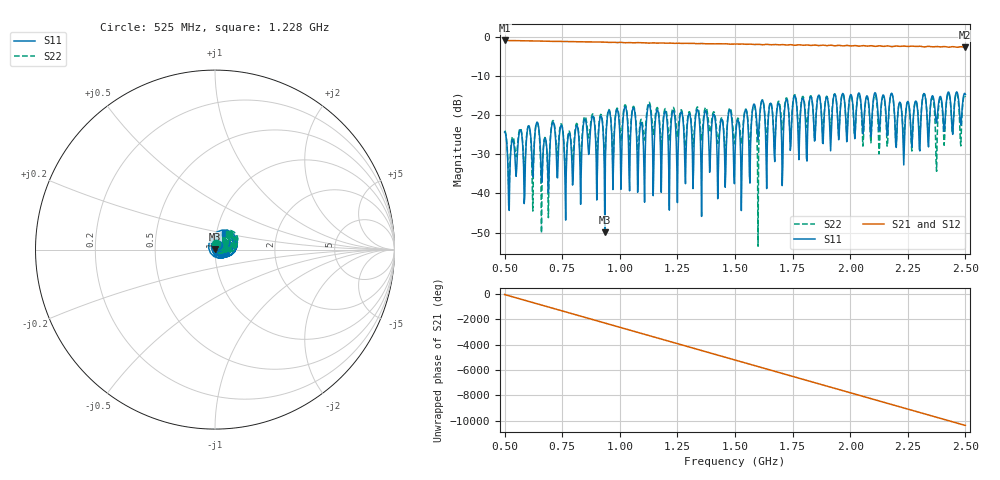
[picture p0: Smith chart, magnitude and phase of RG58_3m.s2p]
!Agilent N9923A: A.05.17
!Date: Sunday, 01 January 2006 12:54:32
!Model: N9923A
!Serial: MY50371189
!CHECKSUM:1851841409
!Correction: S11(ON Q)S21(ON Q)S12(ON Q)S22(ON Q)
!S2P File: Measurements:S11,S21,S12,S22:
# Hz S DB R 50
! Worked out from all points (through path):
!   801 points, 500 MHz to 2.5 GHz, reference 50 ohm
!   highest |S21| = -0.97 dB at 500 MHz (marker M1); lowest = -2.7 dB at 2.498 GHz (marker M2)
!   group delay of S21, straight-line fit = 14.3 ns
!   lowest |S11| = -49.9 dB at 935 MHz (marker M3), VSWR 1.01, Z = 49.9 + j0.314 ohm
!   |S11| at or under -10 dB: start of sweep to end of sweep
!   |S22| runs from -53.5 to -14.4 dB; largest |S21 - S12| = 0.0046
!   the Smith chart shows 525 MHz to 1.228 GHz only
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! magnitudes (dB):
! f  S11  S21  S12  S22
! 500 MHz  -24.3  -1.0  -1.0  -24.0
! 520 MHz  -44.3  -1.0  -1.0  -38.9
! 640 MHz  -21.9  -1.1  -1.1  -21.9
! 662.5 MHz  -36.9  -1.1  -1.1  -37.8
! 710 MHz  -21.8  -1.2  -1.2  -21.4
! 835 MHz  -29.0  -1.3  -1.3  -26.7
! 882.5 MHz  -20.2  -1.4  -1.4  -19.7
! 935 MHz  -49.9  -1.4  -1.4  -32.0
! 952.5 MHz  -18.8  -1.5  -1.5  -18.6
! 1.08 GHz  -35.1  -1.5  -1.5  -29.3
! 1.167 GHz  -19.5  -1.6  -1.6  -18.9
! 1.427 GHz  -35.2  -1.8  -1.8  -27.1
! 1.478 GHz  -18.6  -1.9  -1.9  -18.2
! 1.5 GHz  -30.1  -1.9  -1.8  -26.3
! 1.583 GHz  -17.2  -2.0  -2.0  -17.4
! 1.6 GHz  -26.3  -1.9  -1.9  -53.5
! 1.617 GHz  -16.2  -2.1  -2.1  -16.2
! 1.637 GHz  -38.8  -2.0  -2.0  -26.9
! 1.835 GHz  -16.5  -2.2  -2.2  -16.4
! 2.167 GHz  -19.4  -2.4  -2.4  -19.7
! 2.498 GHz  -14.5  -2.7  -2.7  -15.0
! 2.5 GHz  -14.8  -2.7  -2.7  -15.4
